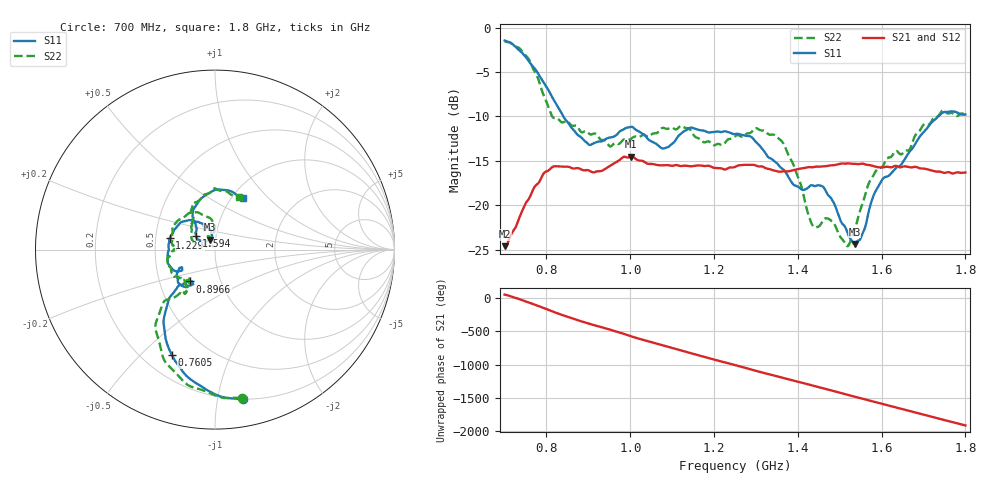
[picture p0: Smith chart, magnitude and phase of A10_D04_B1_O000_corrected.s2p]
! Created with skrf 1.9.0 (http://scikit-rf.org).
# Hz S RI R 50.0
!freq ReS11 ImS11 ReS21 ImS21 ReS12 ImS12 ReS22 ImS22
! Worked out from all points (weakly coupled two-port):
!   1601 points, 700 MHz to 1.8 GHz, reference 50 ohm
!   highest |S21| = -14.53 dB at 1.002 GHz (marker M1); lowest = -24.6 dB at 700.7 MHz (marker M2)
!   lowest |S11| = -24.4 dB at 1.535 GHz (marker M3), VSWR 1.13, Z = 47.2 + j5.18 ohm
!   |S11| at or under -10 dB: 840.3 MHz to 1.735 GHz (894.8 MHz wide, 69.5 % of centre)
!   |S22| runs from -24.6 to -1.5 dB; largest |S21 - S12| = 0.0034
!   S11 on the Smith chart (normalised r, x): 700 MHz: 0.20, -1.19; 760.5 MHz: 0.32, -0.62; 896.6 MHz: 0.72, -0.27; 1.229 GHz: 0.59, +0.08; 1.594 GHz: 0.80, +0.13; 1.8 GHz: 1.12, +0.72
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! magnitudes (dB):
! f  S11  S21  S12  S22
! 700 MHz  -1.4  -24.6  -24.4  -1.5
! 700.7 MHz  -1.4  -24.6  -24.3  -1.5
! 760.5 MHz  -3.9  -19.1  -18.9  -3.8
! 814.1 MHz  -7.9  -15.7  -15.7  -10.0
! 883.6 MHz  -12.4  -16.0  -15.9  -11.8
! 896.6 MHz  -13.0  -16.0  -16.1  -11.7
! 952.3 MHz  -12.4  -15.6  -15.6  -13.4
! 1.002 GHz  -11.2  -14.5  -14.6  -12.5
! 1.067 GHz  -13.3  -15.5  -15.4  -11.7
! 1.143 GHz  -11.3  -15.6  -15.6  -11.5
! 1.229 GHz  -11.7  -15.9  -15.8  -12.8
! 1.25 GHz  -12.0  -15.7  -15.6  -12.2
! 1.361 GHz  -15.8  -16.2  -16.2  -12.7
! 1.434 GHz  -17.7  -15.7  -15.7  -22.1
! 1.476 GHz  -19.0  -15.5  -15.5  -21.6
! 1.517 GHz  -23.0  -15.3  -15.3  -24.6
! 1.535 GHz  -24.4  -15.3  -15.3  -22.9
! 1.569 GHz  -20.8  -15.5  -15.5  -17.6
! 1.594 GHz  -17.7  -15.7  -15.7  -15.8
! 1.617 GHz  -16.7  -15.7  -15.7  -14.6
! 1.742 GHz  -9.7  -16.2  -16.2  -9.5
! 1.8 GHz  -9.8  -16.3  -16.3  -9.9
